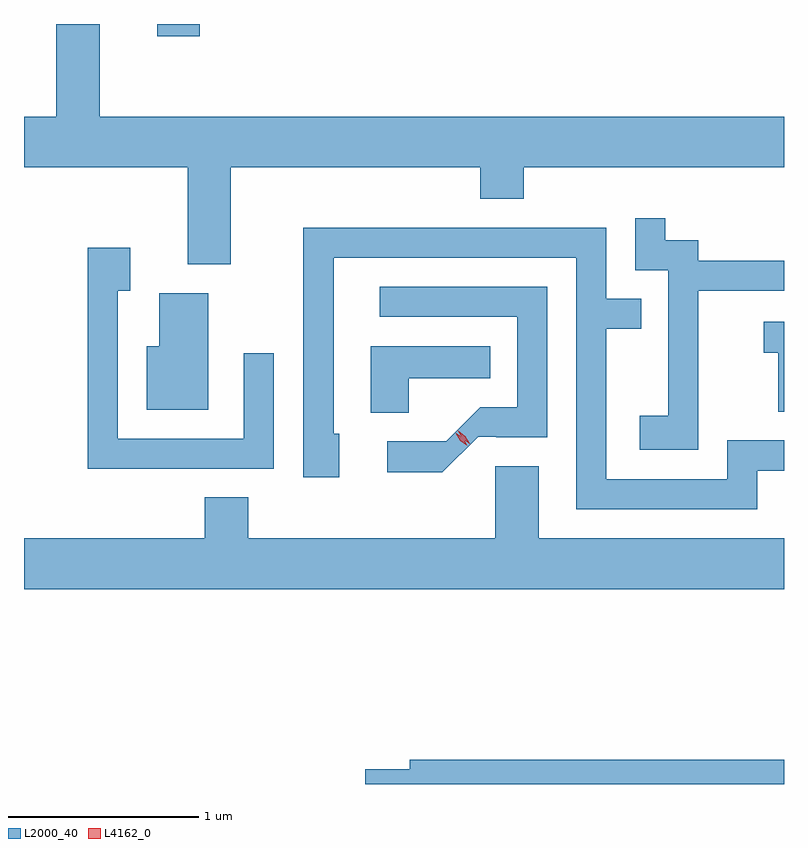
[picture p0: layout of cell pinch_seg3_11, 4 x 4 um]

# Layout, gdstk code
import gdstk
lib = gdstk.Library(unit=1e-6, precision=1e-09)
def R(c, l, rs):  # rectangles x0, y0, x1, y1
    for r in rs: c.add(gdstk.rectangle(r[:2], r[2:], *l))
def P(c, l, *ps):  # polygons
    for p in ps: c.add(gdstk.Polygon(p, *l))
L2000_40 = (2000, 40)
L4162_0 = (4162, 0)

pinch_seg3_11 = lib.new_cell('pinch_seg3_11')
R(pinch_seg3_11, L2000_40, [(828.001,1191.086,828.224,1191.151)])
P(pinch_seg3_11, L2000_40, [(828.389,1190.396),(829.701,1190.396),(829.701,1190.231),(829.929,1190.231),(829.929,1190.396),(831.3,1190.396),(831.3,1190.664),(827.699,1190.664),(827.699,1191.151),(827.471,1191.151),(827.471,1190.664),(827.3,1190.664),(827.3,1190.396),(828.161,1190.396),(828.161,1189.886),(828.389,1189.886)],
  [(830.849,1189.746),(831.3,1189.746),(831.3,1189.904),(830.849,1189.904),(830.849,1190.014),(830.674,1190.014),(830.674,1190.128),(830.516,1190.128),(830.516,1189.856),(830.691,1189.856),(830.691,1189.089),(830.541,1189.089),(830.541,1188.911),(830.849,1188.911)],
  [(831.159,1188.801),(831.3,1188.801),(831.3,1188.959),(831.001,1188.959),(831.001,1188.754),(830.364,1188.754),(830.364,1189.546),(830.548,1189.546),(830.548,1189.704),(830.364,1189.704),(830.364,1190.079),(828.771,1190.079),(828.771,1188.766),(828.959,1188.766),(828.959,1188.994),(828.929,1188.994),(828.929,1189.921),(830.206,1189.921),(830.206,1188.596),(831.159,1188.596)],
  [(828.614,1189.418),(828.456,1189.418),(828.456,1188.969),(827.794,1188.969),(827.794,1189.746),(827.859,1189.746),(827.859,1189.974),(827.636,1189.974),(827.636,1188.811),(828.614,1188.811)],
  [(829.69,1188.979),(829.785,1188.979),(829.785,1188.976),(830.054,1188.976),(830.054,1189.769),(829.173,1189.769),(829.173,1189.611),(829.896,1189.611),(829.896,1189.134),(829.702,1189.134),(829.523,1188.955),(829.213,1188.955),(829.213,1188.791),(829.502,1188.791)],
  [(828.269,1189.734),(828.011,1189.734),(828.011,1189.454),(827.946,1189.454),(827.946,1189.121),(828.269,1189.121)],
  [(831.3,1189.584),(831.193,1189.584),(831.193,1189.421),(831.271,1189.421),(831.271,1189.111),(831.3,1189.111)],
  [(829.324,1189.286),(829.753,1189.286),(829.753,1189.454),(829.126,1189.454),(829.126,1189.106),(829.324,1189.106)],
  [(831.3,1188.444),(830.009,1188.444),(830.009,1188.824),(829.781,1188.824),(829.781,1188.444),(828.479,1188.444),(828.479,1188.659),(828.251,1188.659),(828.251,1188.444),(827.3,1188.444),(827.3,1188.176),(831.3,1188.176)],
  [(831.3,1187.279),(829.331,1187.279),(829.331,1187.229),(829.096,1187.229),(829.096,1187.151),(831.3,1187.151)])
P(pinch_seg3_11, L4162_0, [(829.648,1188.938),(829.608,1188.969),(829.582,1189.012),(829.582,1189.013),(829.582,1189.013),(829.623,1188.982),(829.649,1188.939),(829.649,1188.938)],
  [(829.633,1188.932),(829.596,1188.958),(829.573,1188.997),(829.573,1188.998),(829.574,1188.998),(829.611,1188.972),(829.634,1188.932),(829.634,1188.932)])

lib.write_gds('pinch_seg3_11.gds')
